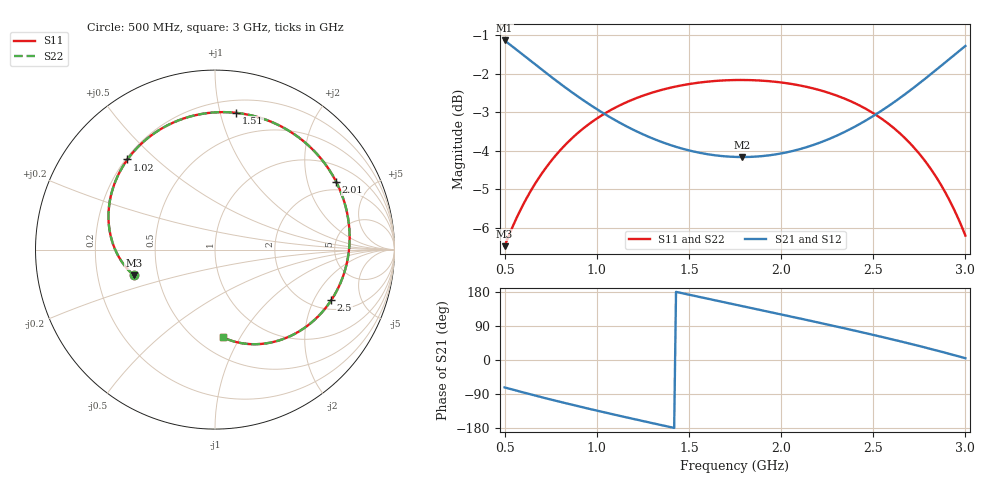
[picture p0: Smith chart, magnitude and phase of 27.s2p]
!freq-unit  param-type  data-format  keyword  impedance-ohms
# GHZ  S  RI  R  50
!Freq  ReS11  ImS11  ReS21  ImS21  ReS12  ImS12  ReS22  ImS22
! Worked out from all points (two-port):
!   251 points, 500 MHz to 3 GHz, reference 50 ohm
!   highest |S21| = -1.13 dB at 500 MHz (marker M1); lowest = -4.2 dB at 1.79 GHz (marker M2)
!   |S21| within 3 dB of the highest: start of sweep to 1.684 GHz; 1.895 GHz to end of sweep
!   lowest |S11| = -6.5 dB at 500 MHz (marker M3), VSWR 2.81, Z = 18.2 - j6.71 ohm
!   |S11| at or under -10 dB: nowhere
!   |S22| runs from -6.5 to -2.2 dB; largest |S21 - S12| = 0
!   S11 on the Smith chart (normalised r, x): 500 MHz: 0.36, -0.13; 1.02 GHz: 0.21, +0.41; 1.51 GHz: 0.30, +1.12; 2.01 GHz: 1.62, +3.04; 2.5 GHz: 2.45, -2.77; 3 GHz: 0.66, -0.85
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0.5  -0.4527 -0.1431  0.2658 -0.8363  0.2658 -0.8363  -0.4527 -0.1431
0.6  -0.5355 -0.0417  0.0666 -0.838  0.0666 -0.838  -0.5355 -0.0417
0.71  -0.5856 0.0968  -0.1296 -0.791  -0.1296 -0.791  -0.5856 0.0968
0.81  -0.5912 0.233  -0.2809 -0.7154  -0.2809 -0.7154  -0.5912 0.233
0.92  -0.555 0.3802  -0.4153 -0.6076  -0.4153 -0.6076  -0.555 0.3802
1.02  -0.4878 0.502  -0.5086 -0.4953  -0.5086 -0.4953  -0.4878 0.502
1.18  -0.3266 0.6562  -0.6045 -0.3015  -0.6045 -0.3015  -0.3266 0.6562
1.34  -0.1213 0.746  -0.6412 -0.1047  -0.6412 -0.1047  -0.1213 0.746
1.51  0.1167 0.7621  -0.6239 0.0953  -0.6239 0.0953  0.1167 0.7621
1.63  0.2814 0.7244  -0.5811 0.2256  -0.5811 0.2256  0.2814 0.7244
1.75  0.4326 0.6488  -0.5157 0.3438  -0.5157 0.3438  0.4326 0.6488
1.79  0.4784 0.6158  -0.4893 0.3801  -0.4893 0.3801  0.4784 0.6158
1.9  0.5897 0.5078  -0.4054 0.471  -0.4054 0.471  0.5897 0.5078
2.01  0.6748 0.3781  -0.3062 0.547  -0.3062 0.547  0.6748 0.3781
2.17  0.7431 0.1635  -0.1374 0.6268  -0.1374 0.6268  0.7431 0.1635
2.33  0.7374 -0.0617  0.0563 0.6627  0.0563 0.6627  0.7374 -0.0617
2.5  0.6471 -0.283  0.2818 0.6411  0.2818 0.6411  0.6471 -0.283
2.59  0.5661 -0.3806  0.405 0.5994  0.405 0.5994  0.5661 -0.3806
2.7  0.4412 -0.4711  0.5532 0.5151  0.5532 0.5151  0.4412 -0.4711
2.8  0.31 -0.518  0.6785 0.4029  0.6785 0.4029  0.31 -0.518
2.9  0.1726 -0.5247  0.7851 0.2545  0.7851 0.2545  0.1726 -0.5247
3  0.0426 -0.4882  0.8604 0.0703  0.8604 0.0703  0.0426 -0.4882
